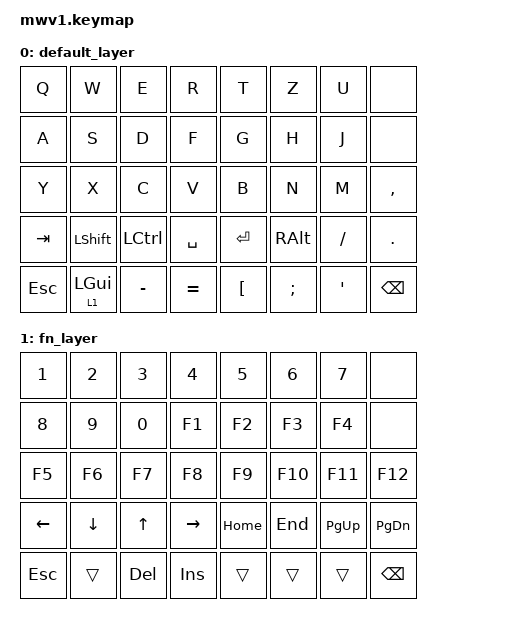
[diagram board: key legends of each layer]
#include <behaviors.dtsi>
#include <dt-bindings/zmk/keys.h>

/ {
    keymap {
        compatible = "zmk,keymap";

        /* Layer 0: DE-Basis
         * Umlaut-Tasten (bei deutschem OS-Layout):
         *   MINUS = ß
         *   LBKT  = ü
         *   SEMI  = ö
         *   SQT   = ä
         *
         * Hinweis: In deinen obersten zwei Reihen ist die letzte Taste physisch nicht da -> &none
         */
        default_layer {
            bindings = <
                /* Row 0 */
                &kp Q        &kp W        &kp E        &kp R        &kp T        &kp Z        &kp U        &none
                /* Row 1 */
                &kp A        &kp S        &kp D        &kp F        &kp G        &kp H        &kp J        &none
                /* Row 2 */
                &kp Y        &kp X        &kp C        &kp V        &kp B        &kp N        &kp M        &kp COMMA
                /* Row 3 */
                &kp TAB      &kp LSHFT    &kp LCTRL    &kp SPACE    &kp ENTER    &kp RALT     &kp SLASH    &kp DOT
                /* Row 4 */
                &kp ESC      &lt 1 LGUI   &kp MINUS    &kp EQUAL    &kp LBKT     &kp SEMI     &kp SQT      &kp BACKSPACE
            >;
        };

        /* Layer 1: Fn (Zahlen, F-Keys, Pfeile)
         * LGUI ist auf Layer 0 als Layer-Tap: Tippen = GUI, Halten = Fn
         */
        fn_layer {
            bindings = <
                /* Row 0 */
                &kp N1       &kp N2       &kp N3       &kp N4       &kp N5       &kp N6       &kp N7       &none
                /* Row 1 */
                &kp N8       &kp N9       &kp N0       &kp F1       &kp F2       &kp F3       &kp F4       &none
                /* Row 2 */
                &kp F5       &kp F6       &kp F7       &kp F8       &kp F9       &kp F10      &kp F11      &kp F12
                /* Row 3 */
                &kp LEFT     &kp DOWN     &kp UP       &kp RIGHT    &kp HOME     &kp END      &kp PG_UP    &kp PG_DN
                /* Row 4 */
                &kp ESC      &trans       &kp DEL      &kp INS      &trans       &trans       &trans       &kp BACKSPACE
            >;
        };
    };
};
